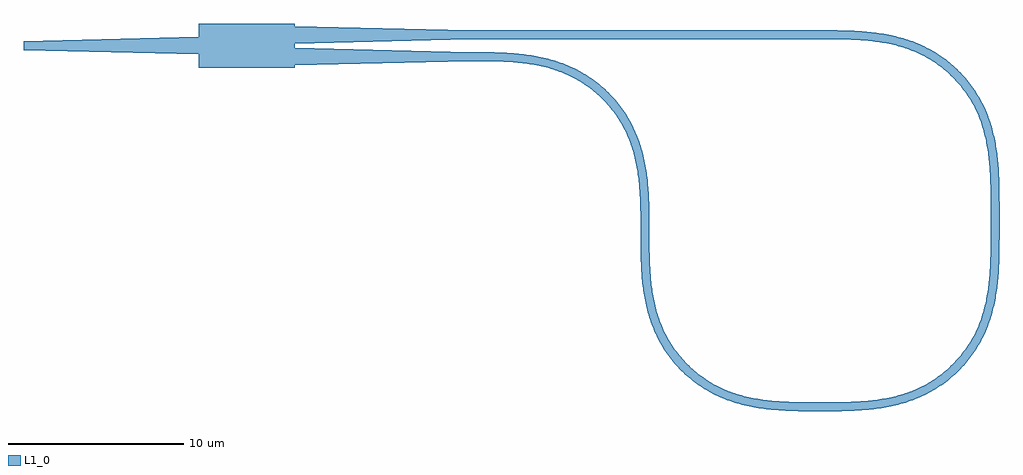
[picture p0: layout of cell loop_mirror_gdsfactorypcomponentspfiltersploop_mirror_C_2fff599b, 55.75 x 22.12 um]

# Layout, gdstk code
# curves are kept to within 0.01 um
from math import pi, radians
import gdstk
lib = gdstk.Library(unit=1e-6, precision=1e-09)
def R(c, l, rs):  # rectangles x0, y0, x1, y1
    for r in rs: c.add(gdstk.rectangle(r[:2], r[2:], *l))
def P(c, l, *ps):  # polygons
    for p in ps: c.add(gdstk.Polygon(p, *l))
L1_0 = (1, 0)

mmi1x2_gdsfactorypcompon = lib.new_cell('mmi1x2_gdsfactorypcomponentspmmispmmi1x2_WNone_WT1_LT10_1f097353')
P(mmi1x2_gdsfactorypcompon, L1_0, [(0,-1.25),(0,-0.5),(-10,-0.25),(-10,0.25),(0,0.5),(0,1.25),(5.5,1.25),(5.5,1.125),(15.5,0.875),(15.5,0.375),(5.5,0.125),(5.5,-0.125),(15.5,-0.375),(15.5,-0.875),(5.5,-1.125),(5.5,-1.25)])

bend_euler_gdsfactorypco = lib.new_cell('bend_euler_gdsfactorypcomponentspbendspbend_euler_RNone_387600b2')
P(bend_euler_gdsfactorypco, L1_0, [(0,-0.25),(0,0.25),(1.655,0.269),(2.338,0.305),(2.881,0.353),(3.42,0.424),(3.952,0.52),(4.477,0.647),(4.99,0.806),(5.365,0.949),(5.731,1.113),(6.087,1.299),(6.431,1.505),(6.762,1.731),(7.079,1.976),(7.575,2.425),(8.024,2.921),(8.269,3.238),(8.495,3.569),(8.701,3.913),(8.887,4.269),(9.051,4.635),(9.194,5.01),(9.353,5.523),(9.48,6.048),(9.576,6.58),(9.647,7.119),(9.695,7.662),(9.731,8.345),(9.75,10),(10.25,10),(10.235,8.468),(10.203,7.767),(10.158,7.205),(10.091,6.644),(10.023,6.224),(9.907,5.668),(9.797,5.254),(9.618,4.711),(9.457,4.312),(9.273,3.922),(9.066,3.545),(8.756,3.061),(8.5,2.715),(8.224,2.385),(7.928,2.072),(7.615,1.776),(7.285,1.5),(6.939,1.244),(6.455,0.934),(6.078,0.727),(5.688,0.543),(5.289,0.382),(4.746,0.203),(4.332,0.093),(3.776,-0.023),(3.356,-0.091),(2.795,-0.158),(2.233,-0.203),(1.532,-0.235)])

straight_gdsfactorypcomp = lib.new_cell('straight_gdsfactorypcomponentspwaveguidespstraight_L1p2_b215014a')
R(straight_gdsfactorypcomp, L1_0, [(0,-0.25,1.25,0.25)])

c_straight_gdsfactorypcomp = lib.new_cell('straight_gdsfactorypcomponentspwaveguidespstraight_L20__31a8c163')
R(c_straight_gdsfactorypcomp, L1_0, [(0,-0.25,20,0.25)])

loop_mirror_gdsfactorypc = lib.new_cell('loop_mirror_gdsfactorypcomponentspfiltersploop_mirror_C_2fff599b')
loop_mirror_gdsfactorypc.add(gdstk.Reference(mmi1x2_gdsfactorypcompon, (0,0)))
loop_mirror_gdsfactorypc.add(gdstk.Reference(bend_euler_gdsfactorypco, (25.5,-10.625), rotation=pi/2))
loop_mirror_gdsfactorypc.add(gdstk.Reference(bend_euler_gdsfactorypco, (35.5,-20.625), rotation=pi, x_reflection=True))
loop_mirror_gdsfactorypc.add(gdstk.Reference(bend_euler_gdsfactorypco, (45.5,-10.625), rotation=3*pi/2, x_reflection=True))
loop_mirror_gdsfactorypc.add(gdstk.Reference(bend_euler_gdsfactorypco, (35.5,0.625), x_reflection=True))
loop_mirror_gdsfactorypc.add(gdstk.Reference(straight_gdsfactorypcomp, (45.5,-10.625), rotation=pi/2))
loop_mirror_gdsfactorypc.add(gdstk.Reference(c_straight_gdsfactorypcomp, (35.5,0.625), rotation=pi))

lib.write_gds('loop_mirror_gdsfactorypcomponentspfiltersploop_mirror_C_2fff599b.gds')
